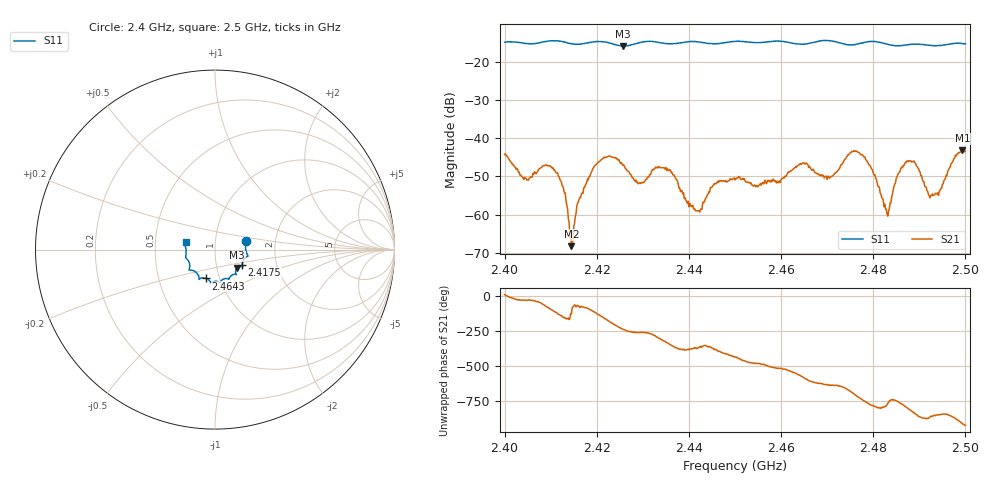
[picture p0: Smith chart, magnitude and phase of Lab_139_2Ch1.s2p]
# Hz S RI R 50
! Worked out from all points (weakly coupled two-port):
!   601 points, 2.4 GHz to 2.5 GHz, reference 50 ohm
!   highest |S21| = -43.22 dB at 2.4993 GHz (marker M1); lowest = -68.3 dB at 2.4145 GHz (marker M2)
!   lowest |S11| = -16.0 dB at 2.4257 GHz (marker M3), VSWR 1.38, Z = 62.5 - j13 ohm
!   |S11| at or under -10 dB: start of sweep to end of sweep
!   S12 and S22 are empty: the file has one direction only
!   S11 on the Smith chart (normalised r, x): 2.4 GHz: 1.41, +0.14; 2.4175 GHz: 1.33, -0.23; 2.4643 GHz: 0.86, -0.28; 2.5 GHz: 0.72, +0.06
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2.4e9  0.1728 0.0483  0.00599 0.00131  0 0  0 0
2.404667e9  0.1709 0.019  0.00266 -0.00137  0 0  0 0
2.411e9  0.1838 -0.0355  -0.00141 -0.00338  0 0  0 0
2.412833e9  0.1761 -0.0401  -0.00186 -0.00101  0 0  0 0
2.4145e9  0.1632 -0.0504  -0.000228 -0.000312  0 0  0 0
2.416667e9  0.1524 -0.0741  0.000541 -0.00178  0 0  0 0
2.4175e9  0.1513 -0.0835  0.000373 -0.00236  0 0  0 0
2.421333e9  0.1539 -0.0968  -0.00465 -0.00268  0 0  0 0
2.425667e9  0.1229 -0.1014  -0.00252 0.00361  0 0  0 0
2.429167e9  0.1155 -0.1326  -0.000479 0.00253  0 0  0 0
2.433333e9  0.1136 -0.1374  0.00194 0.00378  0 0  0 0
2.441833e9  0.0751 -0.1651  0.0011 -0.000203  0 0  0 0
2.45e9  0.0286 -0.1814  0.000776 -0.00273  0 0  0 0
2.464333e9  -0.0497 -0.1606  -0.00387 0.00234  0 0  0 0
2.466667e9  -0.0762 -0.1587  -0.00118 0.0036  0 0  0 0
2.4705e9  -0.0885 -0.1653  0.000432 0.00297  0 0  0 0
2.476667e9  -0.1235 -0.1161  0.00654 0.000103  0 0  0 0
2.483333e9  -0.1405 -0.0897  0.000839 -0.000729  0 0  0 0
2.487333e9  -0.157 -0.0527  0.001 -0.00492  0 0  0 0
2.492667e9  -0.1608 -0.0182  -0.00136 -0.00116  0 0  0 0
2.499333e9  -0.1675 0.0395  -0.00675 0.00143  0 0  0 0
2.5e9  -0.1643 0.0431  -0.0061 0.00283  0 0  0 0
